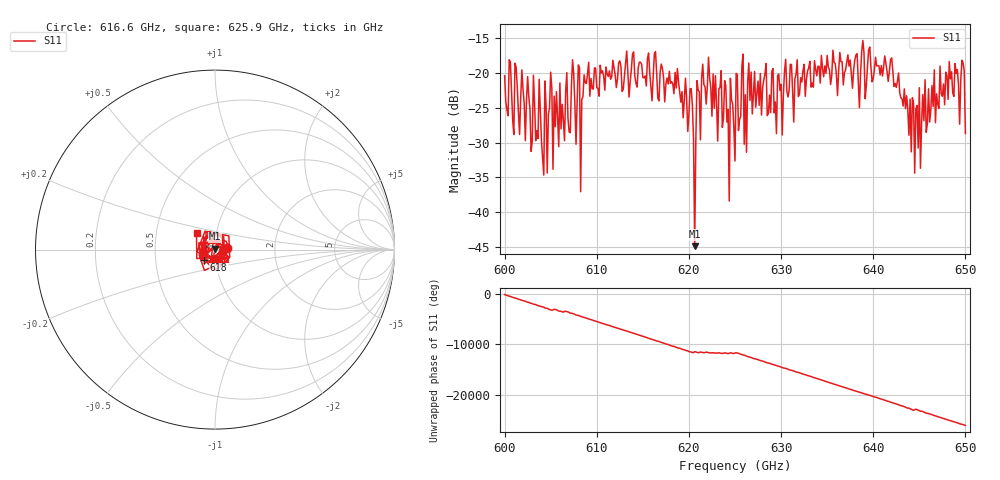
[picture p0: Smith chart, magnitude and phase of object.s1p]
!Created with skrf (http://scikit-rf.org).
# GHz S MA R 50.0
!freq magS11 angS11
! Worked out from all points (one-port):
!   401 points, 600 GHz to 650 GHz, reference 50 ohm
!   lowest |S11| = -44.9 dB at 620.6 GHz (marker M1), VSWR 1.01, Z = 50.2 + j0.541 ohm
!   |S11| at or under -10 dB: start of sweep to end of sweep
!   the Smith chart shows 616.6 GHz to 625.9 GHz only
!   S11 on the Smith chart (normalised r, x): 616.6 GHz: 1.14, +0.02; 618 GHz: 0.88, -0.11; 625.9 GHz: 0.80, +0.15
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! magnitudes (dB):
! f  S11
! 600 GHz  -20.4
! 604.4 GHz  -21.1
! 605.1 GHz  -22.2
! 606.2 GHz  -24.5
! 607.4 GHz  -18.1
! 608.5 GHz  -23.4
! 608.9 GHz  -21.5
! 612.5 GHz  -18.2
! 616.6 GHz  -23.6
! 618 GHz  -21.5
! 618.8 GHz  -19.3
! 620.2 GHz  -22.2
! 620.4 GHz  -24.7
! 620.6 GHz  -44.9
! 621.1 GHz  -22.6
! 621.6 GHz  -21.7
! 623.8 GHz  -26.5
! 624.4 GHz  -38.4
! 625 GHz  -32.6
! 625.9 GHz  -17.2
! 631.2 GHz  -22.4
! 637.5 GHz  -18.1
! 641.9 GHz  -18.1
! 643.8 GHz  -25.3
! 645 GHz  -22.1
! 648.2 GHz  -18.3
! 649.8 GHz  -18.5
! 650 GHz  -28.7
